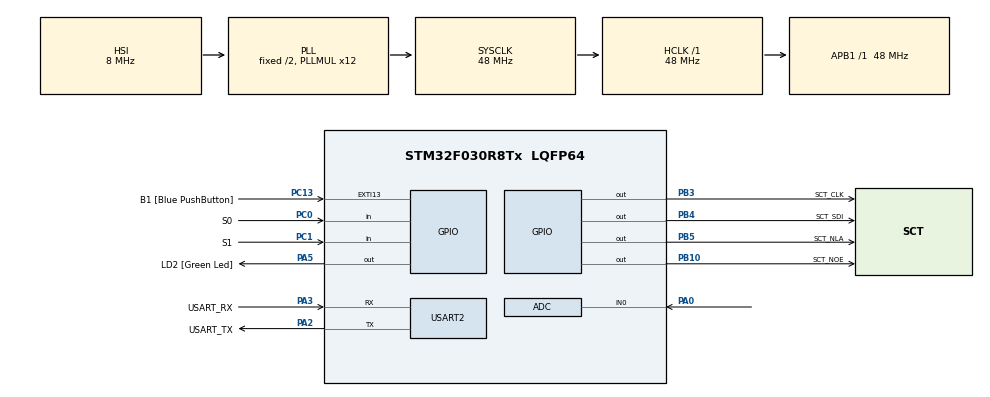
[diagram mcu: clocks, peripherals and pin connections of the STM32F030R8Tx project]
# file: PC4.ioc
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ADC.ContinuousConvMode=ENABLE
ADC.Overrun=ADC_OVR_DATA_OVERWRITTEN
ADC.SamplingTime=ADC_SAMPLETIME_239CYCLES_5
Mcu.Family=STM32F0
Mcu.Name=STM32F030R8Tx
Mcu.Package=LQFP64
NVIC.ADC1_IRQn=true\:0\:0\:false\:false\:true\:true\:true\:true
PA0.Mode=IN0
PA0.Signal=ADC_IN0
PA13.GPIO_Label=TMS
PA13.Mode=Serial_Wire
PA13.Signal=SYS_SWDIO
PA14.GPIO_Label=TCK
PA14.Mode=Serial_Wire
PA14.Signal=SYS_SWCLK
PA2.GPIO_Label=USART_TX
PA2.GPIO_Mode=GPIO_MODE_AF_PP
PA2.GPIO_PuPd=GPIO_NOPULL
PA2.GPIO_Speed=GPIO_SPEED_FREQ_LOW
PA2.Mode=Asynchronous
PA2.Signal=USART2_TX
PA3.GPIO_Label=USART_RX
PA3.GPIO_Mode=GPIO_MODE_AF_PP
PA3.GPIO_PuPd=GPIO_NOPULL
PA3.GPIO_Speed=GPIO_SPEED_FREQ_LOW
PA3.Mode=Asynchronous
PA3.Signal=USART2_RX
PA5.GPIO_Label=LD2 [Green Led]
PA5.GPIO_Mode=GPIO_MODE_OUTPUT_PP
PA5.GPIO_PuPd=GPIO_NOPULL
PA5.GPIO_Speed=GPIO_SPEED_FREQ_LOW
PA5.Signal=GPIO_Output
PB10.GPIO_Label=SCT_NOE
PB10.Signal=GPIO_Output
PB3.GPIO_Label=SCT_CLK
PB3.Signal=GPIO_Output
PB4.GPIO_Label=SCT_SDI
PB4.Signal=GPIO_Output
PB5.GPIO_Label=SCT_NLA
PB5.Signal=GPIO_Output
PC0.GPIO_Label=S0
PC0.GPIO_PuPd=GPIO_PULLUP
PC0.Signal=GPIO_Input
PC1.GPIO_Label=S1
PC1.GPIO_PuPd=GPIO_PULLUP
PC1.Signal=GPIO_Input
PC13.GPIO_Label=B1 [Blue PushButton]
PC13.GPIO_ModeDefaultEXTI=GPIO_MODE_IT_FALLING
PC13.Signal=GPXTI13
PC14-OSC32_IN.Mode=LSE-External-Oscillator
PC14-OSC32_IN.Signal=RCC_OSC32_IN
PC15-OSC32_OUT.Mode=LSE-External-Oscillator
PC15-OSC32_OUT.Signal=RCC_OSC32_OUT
PF0-OSC_IN.Mode=HSE-External-Clock-Source
PF0-OSC_IN.Signal=RCC_OSC_IN
PF1-OSC_OUT.Signal=RCC_OSC_OUT
ProjectManager.HeapSize=0x200
ProjectManager.StackSize=0x400
ProjectManager.TargetToolchain=STM32CubeIDE
RCC.AHBFreq_Value=48000000
RCC.APB1Freq_Value=48000000
RCC.APB1TimFreq_Value=48000000
RCC.HCLKFreq_Value=48000000
RCC.PLLMUL=RCC_PLL_MUL12
RCC.SYSCLKFreq_VALUE=48000000
RCC.SYSCLKSource=RCC_SYSCLKSOURCE_PLLCLK
USART2.VirtualMode-Asynchronous=VM_ASYNC
VP_ADC_TempSens_Input.Mode=IN-TempSens
VP_ADC_Vref_Input.Mode=IN-Vrefint
board=NUCLEO-F030R8

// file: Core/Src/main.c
/* USER CODE BEGIN Header */
/**
  ******************************************************************************
  * @file           : main.c
  * @brief          : Main program body
  ******************************************************************************
  * @attention
  *
  * Copyright (c) 2025 STMicroelectronics.
  * All rights reserved.
  *
  * This software is licensed under terms that can be found in the LICENSE file
  * in the root directory of this software component.
  * If no LICENSE file comes with this software, it is provided AS-IS.
  *
  ******************************************************************************
  */
/* USER CODE END Header */
#include "main.h"

/* USER CODE BEGIN Includes */
#include "sct.h"
/* USER CODE END Includes */

/* USER CODE BEGIN PD */

/* Temperature sensor calibration value address */
#define TEMP110_CAL_ADDR ((uint16_t*) ((uint32_t) 0x1FFFF7C2))
#define TEMP30_CAL_ADDR ((uint16_t*) ((uint32_t) 0x1FFFF7B8))
/* Internal voltage reference calibration value address */
#define VREFINT_CAL_ADDR ((uint16_t*) ((uint32_t) 0x1FFFF7BA))

/* USER CODE END PD */

ADC_HandleTypeDef hadc;

UART_HandleTypeDef huart2;

void SystemClock_Config(void);
static void MX_GPIO_Init(void);
static void MX_USART2_UART_Init(void);
static void MX_ADC_Init(void);

/* USER CODE BEGIN 0 */

#define ADC_Q 12
static volatile uint32_t raw_pot;
volatile uint32_t voltage;
volatile int32_t temperature;

void HAL_ADC_ConvCpltCallback(ADC_HandleTypeDef* hadc)
{
	static uint32_t avg_pot;

	static uint8_t channel = 0;
	if(channel == 0) // Potentiometer value
	{
		raw_pot = avg_pot >> ADC_Q;
		avg_pot -= raw_pot;
		avg_pot += HAL_ADC_GetValue(hadc);
	}

	else if(channel == 2) //
	{
		voltage = 330 * (*VREFINT_CAL_ADDR) / HAL_ADC_GetValue(hadc);
	}

	else if(channel == 1) //
	{
		temperature = (HAL_ADC_GetValue(hadc) - (int32_t)(*TEMP30_CAL_ADDR));
		temperature = temperature * (int32_t)(110 - 30);
		temperature = temperature / (int32_t)(*TEMP110_CAL_ADDR - *TEMP30_CAL_ADDR);
		temperature = temperature + 30;
	}

	if (__HAL_ADC_GET_FLAG(hadc, ADC_FLAG_EOS)) channel = 0;
	else channel++;
}

static enum { SHOW_POT, SHOW_VOLT, SHOW_TEMP } state = SHOW_POT;
static long displayChange = 0;

/* USER CODE END 0 */

int main(void)
{

  /* MCU Configuration--------------------------------------------------------*/

  /* Reset of all peripherals, Initializes the Flash interface and the Systick. */
  HAL_Init();

  /* Configure the system clock */
  SystemClock_Config();

  /* Initialize all configured peripherals */
  MX_GPIO_Init();
  MX_USART2_UART_Init();
  MX_ADC_Init();

  /* Infinite loop */
  /* USER CODE BEGIN WHILE */
  while (1)
  {
	  if(HAL_GetTick() >  displayChange + 1000)
		  {
			  state = SHOW_POT;
		  }

	  if(!HAL_GPIO_ReadPin(S0_GPIO_Port, S0_Pin))
	  	  {
	  		  displayChange = HAL_GetTick();
	  		  state = SHOW_TEMP;
	  	  }
	  if(!HAL_GPIO_ReadPin(S1_GPIO_Port, S1_Pin))
	  	  {
	  		  displayChange = HAL_GetTick();
	  		  state = SHOW_VOLT;
	  	  }

	  switch (state) {
		case SHOW_POT:
			sct_value(raw_pot  * 501/4096, raw_pot *9/4096);
			break;

		case SHOW_TEMP:
			sct_value(temperature, 1);
			break;

		case SHOW_VOLT:
			sct_value(voltage, 2);
			break;

		default:
			break;
	}
	  HAL_Delay(50);

	  //sct_value(0, raw_pot*8/4095);

    /* USER CODE END WHILE */

  }
}

void SystemClock_Config(void)
{
  RCC_OscInitTypeDef RCC_OscInitStruct = {0};
  RCC_ClkInitTypeDef RCC_ClkInitStruct = {0};

  /** Initializes the RCC Oscillators according to the specified parameters
  * in the RCC_OscInitTypeDef structure.
  */
  RCC_OscInitStruct.OscillatorType = RCC_OSCILLATORTYPE_HSI|RCC_OSCILLATORTYPE_HSI14;
  RCC_OscInitStruct.HSIState = RCC_HSI_ON;
  RCC_OscInitStruct.HSI14State = RCC_HSI14_ON;
  RCC_OscInitStruct.HSICalibrationValue = RCC_HSICALIBRATION_DEFAULT;
  RCC_OscInitStruct.HSI14CalibrationValue = 16;
  RCC_OscInitStruct.PLL.PLLState = RCC_PLL_ON;
  RCC_OscInitStruct.PLL.PLLSource = RCC_PLLSOURCE_HSI;
  RCC_OscInitStruct.PLL.PLLMUL = RCC_PLL_MUL12;
  RCC_OscInitStruct.PLL.PREDIV = RCC_PREDIV_DIV1;
  if (HAL_RCC_OscConfig(&RCC_OscInitStruct) != HAL_OK)
  {
    Error_Handler();
  }

  /** Initializes the CPU, AHB and APB buses clocks
  */
  RCC_ClkInitStruct.ClockType = RCC_CLOCKTYPE_HCLK|RCC_CLOCKTYPE_SYSCLK
                              |RCC_CLOCKTYPE_PCLK1;
  RCC_ClkInitStruct.SYSCLKSource = RCC_SYSCLKSOURCE_PLLCLK;
  RCC_ClkInitStruct.AHBCLKDivider = RCC_SYSCLK_DIV1;
  RCC_ClkInitStruct.APB1CLKDivider = RCC_HCLK_DIV1;

  if (HAL_RCC_ClockConfig(&RCC_ClkInitStruct, FLASH_LATENCY_1) != HAL_OK)
  {
    Error_Handler();
  }
}

static void MX_ADC_Init(void)
{

  ADC_ChannelConfTypeDef sConfig = {0};

  /** Configure the global features of the ADC (Clock, Resolution, Data Alignment and number of conversion)
  */
  hadc.Instance = ADC1;
  hadc.Init.ClockPrescaler = ADC_CLOCK_ASYNC_DIV1;
  hadc.Init.Resolution = ADC_RESOLUTION_12B;
  hadc.Init.DataAlign = ADC_DATAALIGN_RIGHT;
  hadc.Init.ScanConvMode = ADC_SCAN_DIRECTION_FORWARD;
  hadc.Init.EOCSelection = ADC_EOC_SINGLE_CONV;
  hadc.Init.LowPowerAutoWait = DISABLE;
  hadc.Init.LowPowerAutoPowerOff = DISABLE;
  hadc.Init.ContinuousConvMode = ENABLE;
  hadc.Init.DiscontinuousConvMode = DISABLE;
  hadc.Init.ExternalTrigConv = ADC_SOFTWARE_START;
  hadc.Init.ExternalTrigConvEdge = ADC_EXTERNALTRIGCONVEDGE_NONE;
  hadc.Init.DMAContinuousRequests = DISABLE;
  hadc.Init.Overrun = ADC_OVR_DATA_OVERWRITTEN;
  if (HAL_ADC_Init(&hadc) != HAL_OK)
  {
    Error_Handler();
  }

  /** Configure for the selected ADC regular channel to be converted.
  */
  sConfig.Channel = ADC_CHANNEL_0;
  sConfig.Rank = ADC_RANK_CHANNEL_NUMBER;
  sConfig.SamplingTime = ADC_SAMPLETIME_239CYCLES_5;
  if (HAL_ADC_ConfigChannel(&hadc, &sConfig) != HAL_OK)
  {
    Error_Handler();
  }

  /** Configure for the selected ADC regular channel to be converted.
  */
  sConfig.Channel = ADC_CHANNEL_TEMPSENSOR;
  if (HAL_ADC_ConfigChannel(&hadc, &sConfig) != HAL_OK)
  {
    Error_Handler();
  }

  /** Configure for the selected ADC regular channel to be converted.
  */
  sConfig.Channel = ADC_CHANNEL_VREFINT;
  if (HAL_ADC_ConfigChannel(&hadc, &sConfig) != HAL_OK)
  {
    Error_Handler();
  }
  /* USER CODE BEGIN ADC_Init 2 */

  HAL_ADCEx_Calibration_Start(&hadc);
  HAL_ADC_Start_IT(&hadc);

  /* USER CODE END ADC_Init 2 */

}

static void MX_USART2_UART_Init(void)
{

  huart2.Instance = USART2;
  huart2.Init.BaudRate = 38400;
  huart2.Init.WordLength = UART_WORDLENGTH_8B;
  huart2.Init.StopBits = UART_STOPBITS_1;
  huart2.Init.Parity = UART_PARITY_NONE;
  huart2.Init.Mode = UART_MODE_TX_RX;
  huart2.Init.HwFlowCtl = UART_HWCONTROL_NONE;
  huart2.Init.OverSampling = UART_OVERSAMPLING_16;
  huart2.Init.OneBitSampling = UART_ONE_BIT_SAMPLE_DISABLE;
  huart2.AdvancedInit.AdvFeatureInit = UART_ADVFEATURE_NO_INIT;
  if (HAL_UART_Init(&huart2) != HAL_OK)
  {
    Error_Handler();
  }

}

static void MX_GPIO_Init(void)
{
  GPIO_InitTypeDef GPIO_InitStruct = {0};

  /* GPIO Ports Clock Enable */
  __HAL_RCC_GPIOC_CLK_ENABLE();
  __HAL_RCC_GPIOF_CLK_ENABLE();
  __HAL_RCC_GPIOA_CLK_ENABLE();
  __HAL_RCC_GPIOB_CLK_ENABLE();

  /*Configure GPIO pin Output Level */
  HAL_GPIO_WritePin(LD2_GPIO_Port, LD2_Pin, GPIO_PIN_RESET);

  /*Configure GPIO pin Output Level */
  HAL_GPIO_WritePin(GPIOB, SCT_NOE_Pin|SCT_CLK_Pin|SCT_SDI_Pin|SCT_NLA_Pin, GPIO_PIN_RESET);

  /*Configure GPIO pin : B1_Pin */
  GPIO_InitStruct.Pin = B1_Pin;
  GPIO_InitStruct.Mode = GPIO_MODE_IT_FALLING;
  GPIO_InitStruct.Pull = GPIO_NOPULL;
  HAL_GPIO_Init(B1_GPIO_Port, &GPIO_InitStruct);

  /*Configure GPIO pins : S0_Pin S1_Pin */
  GPIO_InitStruct.Pin = S0_Pin|S1_Pin;
  GPIO_InitStruct.Mode = GPIO_MODE_INPUT;
  GPIO_InitStruct.Pull = GPIO_PULLUP;
  HAL_GPIO_Init(GPIOC, &GPIO_InitStruct);

  /*Configure GPIO pin : LD2_Pin */
  GPIO_InitStruct.Pin = LD2_Pin;
  GPIO_InitStruct.Mode = GPIO_MODE_OUTPUT_PP;
  GPIO_InitStruct.Pull = GPIO_NOPULL;
  GPIO_InitStruct.Speed = GPIO_SPEED_FREQ_LOW;
  HAL_GPIO_Init(LD2_GPIO_Port, &GPIO_InitStruct);

  /*Configure GPIO pins : SCT_NOE_Pin SCT_CLK_Pin SCT_SDI_Pin SCT_NLA_Pin */
  GPIO_InitStruct.Pin = SCT_NOE_Pin|SCT_CLK_Pin|SCT_SDI_Pin|SCT_NLA_Pin;
  GPIO_InitStruct.Mode = GPIO_MODE_OUTPUT_PP;
  GPIO_InitStruct.Pull = GPIO_NOPULL;
  GPIO_InitStruct.Speed = GPIO_SPEED_FREQ_LOW;
  HAL_GPIO_Init(GPIOB, &GPIO_InitStruct);

}

void Error_Handler(void)
{
  __disable_irq();
  while (1)
  {
  }
}
